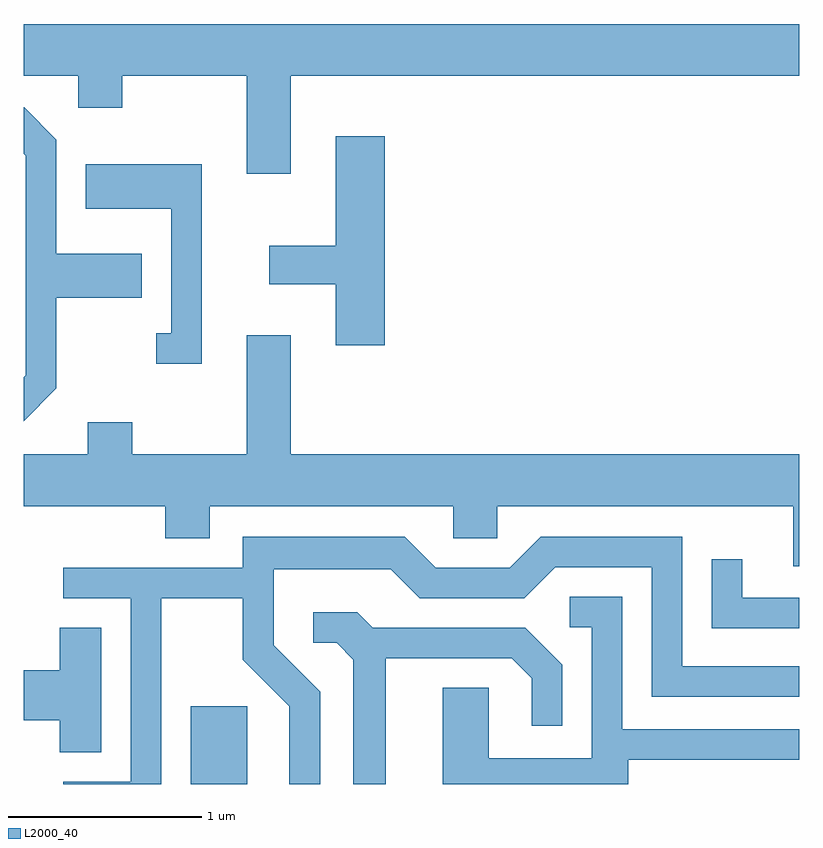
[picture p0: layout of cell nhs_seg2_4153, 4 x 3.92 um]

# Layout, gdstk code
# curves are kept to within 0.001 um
import gdstk
lib = gdstk.Library(unit=1e-6, precision=1e-09)
def R(c, l, rs):  # rectangles x0, y0, x1, y1
    for r in rs: c.add(gdstk.rectangle(r[:2], r[2:], *l))
def P(c, l, *ps):  # polygons
    for p in ps: c.add(gdstk.Polygon(p, *l))
L2000_40 = (2000, 40)

nhs_seg2_4153 = lib.new_cell('nhs_seg2_4153')
R(nhs_seg2_4153, L2000_40, [(308.471,1015.802,308.764,1016.204)])
P(nhs_seg2_4153, L2000_40, [(308.989,1019.456),(311.611,1019.456),(311.611,1019.724),(307.611,1019.724),(307.611,1019.456),(307.891,1019.456),(307.891,1019.291),(308.119,1019.291),(308.119,1019.456),(308.761,1019.456),(308.761,1018.951),(308.989,1018.951)],
  [(307.779,1017.844),(307.779,1018.311),(308.219,1018.311),(308.219,1018.539),(307.779,1018.539),(307.779,1019.127),(307.611,1019.294),(307.611,1019.054),(307.621,1019.044),(307.621,1017.912),(307.611,1017.902),(307.611,1017.675)],
  [(309.474,1019.144),(309.221,1019.144),(309.221,1018.579),(308.876,1018.579),(308.876,1018.381),(309.221,1018.381),(309.221,1018.066),(309.474,1018.066)],
  [(308.529,1018.999),(307.931,1018.999),(307.931,1018.771),(308.371,1018.771),(308.371,1018.129),(308.293,1018.129),(308.293,1017.971),(308.529,1017.971)],
  [(311.611,1017.504),(308.989,1017.504),(308.989,1018.119),(308.761,1018.119),(308.761,1017.504),(308.169,1017.504),(308.169,1017.669),(307.941,1017.669),(307.941,1017.504),(307.611,1017.504),(307.611,1017.236),(308.341,1017.236),(308.341,1017.071),(308.569,1017.071),(308.569,1017.236),(309.826,1017.236),(309.826,1017.071),(310.054,1017.071),(310.054,1017.236),(311.581,1017.236),(311.581,1016.926),(311.611,1016.926)],
  [(308.319,1016.761),(308.741,1016.761),(308.741,1016.444),(308.981,1016.204),(308.981,1015.802),(309.139,1015.802),(309.139,1016.277),(308.899,1016.517),(308.899,1016.911),(309.504,1016.911),(309.654,1016.761),(310.192,1016.761),(310.352,1016.921),(310.851,1016.921),(310.851,1016.251),(311.611,1016.251),(311.611,1016.409),(311.009,1016.409),(311.009,1017.079),(310.279,1017.079),(310.119,1016.919),(309.737,1016.919),(309.577,1017.079),(308.741,1017.079),(308.741,1016.919),(307.813,1016.919),(307.813,1016.761),(308.161,1016.761),(308.161,1015.814),(307.813,1015.814),(307.813,1015.802),(308.319,1015.802)],
  [(311.611,1016.764),(311.319,1016.764),(311.319,1016.963),(311.161,1016.963),(311.161,1016.606),(311.611,1016.606)],
  [(310.729,1015.926),(311.611,1015.926),(311.611,1016.084),(310.699,1016.084),(310.699,1016.769),(310.428,1016.769),(310.428,1016.611),(310.541,1016.611),(310.541,1015.934),(310.009,1015.934),(310.009,1016.299),(309.771,1016.299),(309.771,1015.802),(310.729,1015.802)],
  [(309.479,1016.451),(310.129,1016.451),(310.231,1016.349),(310.231,1016.103),(310.389,1016.103),(310.389,1016.417),(310.197,1016.609),(309.412,1016.609),(309.332,1016.689),(309.103,1016.689),(309.103,1016.531),(309.224,1016.531),(309.311,1016.444),(309.311,1015.802),(309.479,1015.802)],
  [(308.009,1016.609),(307.796,1016.609),(307.796,1016.389),(307.611,1016.389),(307.611,1016.131),(307.796,1016.131),(307.796,1015.966),(308.009,1015.966)])

lib.write_gds('nhs_seg2_4153.gds')
